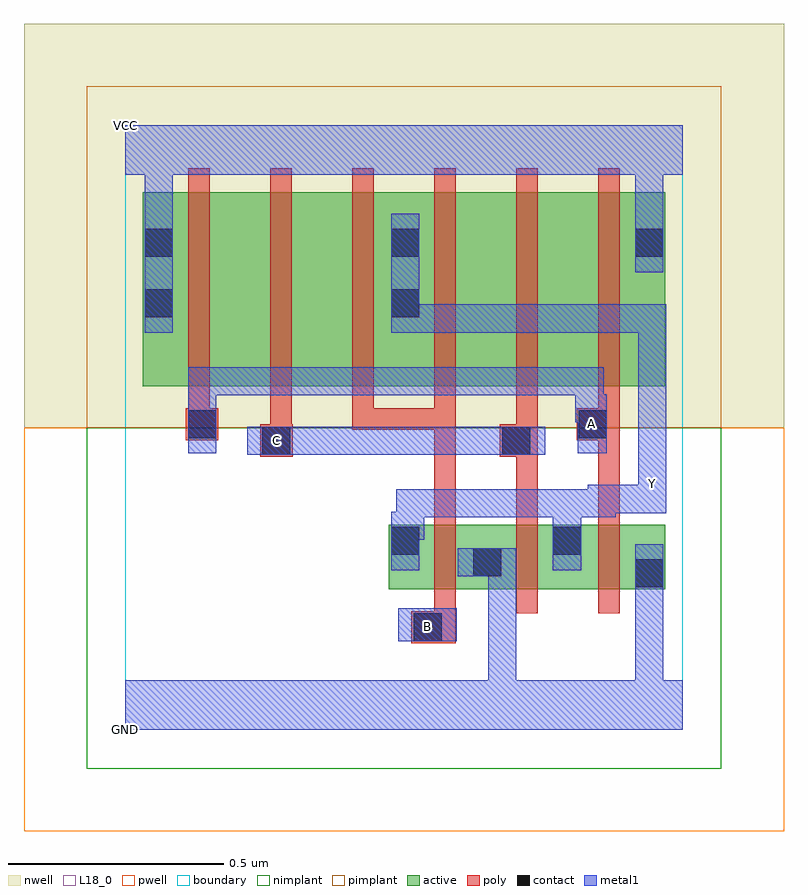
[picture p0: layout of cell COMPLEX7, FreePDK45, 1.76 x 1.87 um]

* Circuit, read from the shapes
.subckt COMPLEX7 A B C GND VCC Y
M1 GND B Y VSUBS nfet w=0.15u l=0.05u
M2 Y C GND VSUBS nfet w=0.15u l=0.05u
M3 GND A Y VSUBS nfet w=0.15u l=0.05u
M4 n1 A VCC n2 pfet w=0.45u l=0.05u
M5 n3 C n1 n2 pfet w=0.45u l=0.05u
M6 Y B n3 n2 pfet w=0.45u l=0.05u
M7 n4 B Y n2 pfet w=0.45u l=0.05u
M8 n5 C n4 n2 pfet w=0.45u l=0.05u
M9 VCC A n5 n2 pfet w=0.45u l=0.05u
.ends

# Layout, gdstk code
import gdstk
lib = gdstk.Library(unit=1e-6, precision=1e-09)
def R(c, l, rs):  # rectangles x0, y0, x1, y1
    for r in rs: c.add(gdstk.rectangle(r[:2], r[2:], *l))
def A(c, l, x, y, w, h, nx, ny, dx, dy):  # array of equal rectangles
    R(c, l, [(x+i*dx, y+j*dy, x+i*dx+w, y+j*dy+h) for i in range(nx) for j in range(ny)])
active = (1, 0)
pwell = (2, 0)
nwell = (3, 0)
nimplant = (4, 0)
pimplant = (5, 0)
poly = (9, 0)
contact = (10, 0)
metal1 = (11, 0)
L18_0 = (18, 0)
boundary = (235, 0)

complex7 = lib.new_cell('COMPLEX7')
R(complex7, active, [(0.61,0.325,0.685,0.475), (0.61,0.325,0.875,0.475), (0.8,0.325,1.06,0.475), (0.8,0.325,0.875,0.425), (0.985,0.325,1.06,0.475), (0.985,0.325,1.25,0.475), (1.175,0.325,1.25,0.475), (0.04,0.795,0.115,1.245), (0.04,0.795,0.265,1.245), (0.265,0.795,0.455,1.245), (0.455,0.795,0.685,1.245), (0.61,0.795,0.835,1.245), (0.61,0.795,0.685,1.2), (0.835,0.795,1.025,1.245), (1.025,0.795,1.25,1.245), (1.175,0.795,1.25,1.245)])
R(complex7, pwell, [(-0.235,-0.235,1.525,0.7)])
R(complex7, nwell, [(-0.235,0.7,1.525,1.635)])
R(complex7, nimplant, [(-0.09,-0.09,1.38,0.7)])
R(complex7, pimplant, [(-0.09,0.7,1.38,1.49)])
A(complex7, poly, 0.715, 0.27, 0.05, 0.26, 3, 1, 0.19, 0)
A(complex7, poly, 0.145, 0.74, 0.05, 0.56, 6, 1, 0.19, 0)
R(complex7, poly, [(0.662,0.2,0.765,0.275), (0.715,0.225,0.765,0.32), (0.715,0.48,0.765,0.745), (0.905,0.48,0.955,0.682), (1.095,0.48,1.145,0.72), (0.312,0.632,0.387,0.707), (0.867,0.632,0.955,0.707), (0.335,0.657,0.385,0.79), (0.905,0.657,0.955,0.79), (0.14,0.67,0.215,0.745), (1.045,0.67,1.145,0.745), (0.145,0.695,0.195,0.79), (0.525,0.695,0.575,0.79), (0.525,0.695,0.765,0.745), (0.525,0.695,0.575,0.745), (0.525,0.695,0.575,0.745), (0.525,0.695,0.575,0.745), (0.715,0.695,0.765,0.79), (0.715,0.695,0.765,0.745), (1.095,0.695,1.145,0.79)])
R(complex7, contact, [(0.667,0.205,0.732,0.27), (1.18,0.33,1.245,0.395), (0.805,0.355,0.87,0.42), (0.615,0.405,0.68,0.47), (0.99,0.405,1.055,0.47), (0.317,0.637,0.382,0.702), (0.872,0.637,0.937,0.702), (0.145,0.675,0.21,0.74), (1.05,0.675,1.115,0.74), (0.045,0.955,0.11,1.02), (0.615,0.955,0.68,1.02), (0.045,1.095,0.11,1.16), (0.615,1.095,0.68,1.16), (1.18,1.095,1.245,1.16)])
R(complex7, metal1, [(0,0,1.29,0.115), (0.84,0.05,0.905,0.42), (1.18,0.05,1.245,0.115), (1.18,0.05,1.245,0.115), (1.18,0.05,1.245,0.115), (1.18,0.05,1.245,0.115), (1.18,0.05,1.245,0.115), (1.18,0.05,1.245,0.115), (1.18,0.05,1.245,0.36), (0.632,0.205,0.767,0.282), (1.18,0.295,1.245,0.43), (0.77,0.355,0.905,0.42), (0.84,0.355,0.905,0.42), (0.84,0.355,0.905,0.42), (0.84,0.355,0.905,0.42), (0.84,0.355,0.905,0.42), (0.84,0.355,0.905,0.42), (0.84,0.355,0.905,0.42), (0.615,0.37,0.68,0.505), (0.99,0.37,1.055,0.557), (0.615,0.44,0.692,0.505), (0.627,0.44,0.692,0.557), (0.627,0.492,0.905,0.557), (0.84,0.492,0.905,0.557), (0.84,0.492,0.905,0.557), (0.84,0.492,0.905,0.557), (0.84,0.492,1.055,0.557), (0.99,0.492,1.135,0.557), (1.07,0.492,1.135,0.567), (1.07,0.502,1.252,0.567), (1.187,0.502,1.252,0.637), (1.187,0.502,1.252,0.567), (1.187,0.502,1.252,0.567), (1.187,0.572,1.252,0.985), (0.282,0.637,0.417,0.702), (0.352,0.637,0.417,0.702), (0.352,0.637,0.417,0.702), (0.352,0.637,0.555,0.702), (0.49,0.637,0.555,0.702), (0.49,0.637,0.555,0.702), (0.49,0.637,0.555,0.702), (0.49,0.637,0.692,0.702), (0.627,0.637,0.692,0.702), (0.627,0.637,0.902,0.702), (0.837,0.637,0.902,0.702), (0.837,0.637,0.902,0.702), (0.837,0.637,0.972,0.702), (0.145,0.64,0.21,0.775), (1.047,0.64,1.115,0.777), (0.145,0.71,0.21,0.775), (0.145,0.71,0.21,0.775), (0.145,0.71,0.21,0.84), (1.042,0.712,1.107,0.777), (1.042,0.712,1.112,0.777), (1.042,0.712,1.107,0.84), (0.145,0.775,0.21,0.84), (0.145,0.775,0.417,0.84), (0.352,0.775,0.417,0.84), (0.352,0.775,0.417,0.84), (0.352,0.775,0.417,0.84), (0.352,0.775,0.555,0.84), (0.49,0.775,0.555,0.84), (0.49,0.775,0.692,0.84), (0.627,0.775,0.692,0.84), (0.627,0.775,0.692,0.84), (0.627,0.775,0.692,0.84), (0.627,0.775,0.905,0.84), (0.84,0.775,0.905,0.84), (0.84,0.775,0.905,0.84), (0.84,0.775,0.905,0.84), (0.84,0.775,1.107,0.84), (1.042,0.775,1.107,0.84), (0.045,0.92,0.11,1.195), (0.615,0.92,0.765,0.985), (0.615,0.92,0.68,1.195), (0.7,0.92,0.765,0.985), (0.7,0.92,0.905,0.985), (0.84,0.92,0.905,0.985), (0.84,0.92,0.905,0.985), (0.84,0.92,0.905,0.985), (0.84,0.92,1.107,0.985), (1.042,0.92,1.107,0.985), (1.042,0.92,1.252,0.985), (1.187,0.92,1.252,0.985), (1.187,0.92,1.252,0.985), (1.187,0.92,1.252,0.985), (1.187,0.92,1.252,0.985), (1.187,0.92,1.252,0.985), (1.18,1.06,1.245,1.195), (0.045,1.13,0.11,1.35), (1.18,1.13,1.245,1.35), (0,1.285,1.29,1.4)])
R(complex7, L18_0, [(0,0,1.29,0.115), (0.84,0.05,0.905,0.42), (1.18,0.05,1.245,0.115), (1.18,0.05,1.245,0.115), (1.18,0.05,1.245,0.115), (1.18,0.05,1.245,0.115), (1.18,0.05,1.245,0.115), (1.18,0.05,1.245,0.115), (1.18,0.05,1.245,0.36), (0.632,0.205,0.767,0.282), (0.667,0.207,0.732,0.272), (1.18,0.295,1.245,0.43), (0.77,0.355,0.905,0.42), (0.84,0.355,0.905,0.42), (0.84,0.355,0.905,0.42), (0.84,0.355,0.905,0.42), (0.84,0.355,0.905,0.42), (0.84,0.355,0.905,0.42), (0.84,0.355,0.905,0.42), (0.615,0.37,0.68,0.505), (0.99,0.37,1.055,0.557), (0.615,0.44,0.692,0.505), (0.627,0.44,0.692,0.557), (0.627,0.492,0.905,0.557), (0.84,0.492,0.905,0.557), (0.84,0.492,0.905,0.557), (0.84,0.492,0.905,0.557), (0.84,0.492,1.055,0.557), (0.99,0.492,1.135,0.557), (1.07,0.492,1.135,0.567), (1.07,0.502,1.252,0.567), (1.187,0.502,1.252,0.637), (1.187,0.502,1.252,0.567), (1.187,0.502,1.252,0.567), (1.187,0.537,1.252,0.602), (1.187,0.572,1.252,0.985), (0.282,0.637,0.417,0.702), (0.317,0.637,0.382,0.702), (0.352,0.637,0.417,0.702), (0.352,0.637,0.417,0.702), (0.352,0.637,0.555,0.702), (0.49,0.637,0.555,0.702), (0.49,0.637,0.555,0.702), (0.49,0.637,0.555,0.702), (0.49,0.637,0.692,0.702), (0.627,0.637,0.692,0.702), (0.627,0.637,0.902,0.702), (0.837,0.637,0.902,0.702), (0.837,0.637,0.902,0.702), (0.837,0.637,0.972,0.702), (0.145,0.64,0.21,0.775), (1.047,0.64,1.115,0.777), (1.047,0.677,1.112,0.742), (0.145,0.71,0.21,0.775), (0.145,0.71,0.21,0.775), (0.145,0.71,0.21,0.84), (1.042,0.712,1.107,0.777), (1.042,0.712,1.107,0.84), (1.042,0.712,1.112,0.777), (0.145,0.775,0.21,0.84), (0.145,0.775,0.417,0.84), (0.352,0.775,0.417,0.84), (0.352,0.775,0.417,0.84), (0.352,0.775,0.417,0.84), (0.352,0.775,0.555,0.84), (0.49,0.775,0.555,0.84), (0.49,0.775,0.692,0.84), (0.627,0.775,0.692,0.84), (0.627,0.775,0.692,0.84), (0.627,0.775,0.692,0.84), (0.627,0.775,0.905,0.84), (0.84,0.775,0.905,0.84), (0.84,0.775,0.905,0.84), (0.84,0.775,0.905,0.84), (0.84,0.775,1.107,0.84), (1.042,0.775,1.107,0.84), (0.045,0.92,0.11,1.195), (0.615,0.92,0.68,1.195), (0.615,0.92,0.765,0.985), (0.7,0.92,0.765,0.985), (0.7,0.92,0.905,0.985), (0.84,0.92,0.905,0.985), (0.84,0.92,0.905,0.985), (0.84,0.92,0.905,0.985), (0.84,0.92,1.107,0.985), (1.042,0.92,1.107,0.985), (1.042,0.92,1.252,0.985), (1.187,0.92,1.252,0.985), (1.187,0.92,1.252,0.985), (1.187,0.92,1.252,0.985), (1.187,0.92,1.252,0.985), (1.187,0.92,1.252,0.985), (1.18,1.06,1.245,1.195), (0.045,1.13,0.11,1.35), (1.18,1.13,1.245,1.35), (0,1.285,1.29,1.4)])
R(complex7, boundary, [(0,0,1.29,1.4)])
complex7.add(gdstk.Label('A', (1.08,0.71), layer=11, texttype=0))
complex7.add(gdstk.Label('B', (0.7,0.24), layer=11, texttype=0))
complex7.add(gdstk.Label('C', (0.35,0.67), layer=11, texttype=0))
complex7.add(gdstk.Label('Y', (1.22,0.57), layer=11, texttype=0))
complex7.add(gdstk.Label('VCC', (0,1.4), layer=11, texttype=0))
complex7.add(gdstk.Label('GND', (0,0), layer=11, texttype=0))

lib.write_gds('COMPLEX7.gds')
